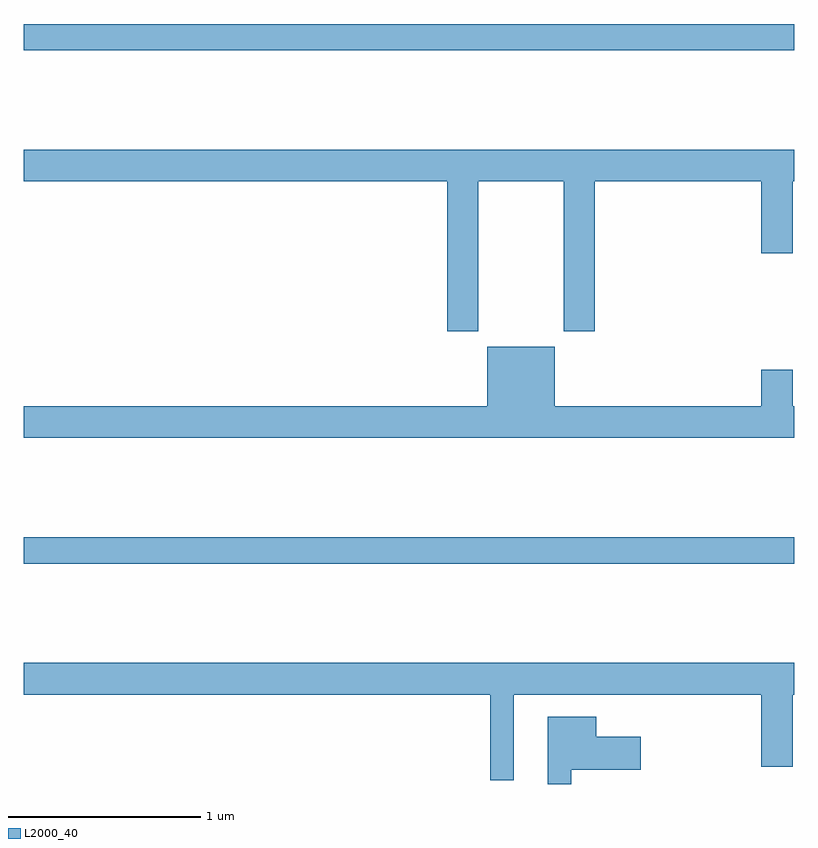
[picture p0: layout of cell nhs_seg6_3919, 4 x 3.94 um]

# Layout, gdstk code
import gdstk
lib = gdstk.Library(unit=1e-6, precision=1e-09)
def R(c, l, rs):  # rectangles x0, y0, x1, y1
    for r in rs: c.add(gdstk.rectangle(r[:2], r[2:], *l))
def P(c, l, *ps):  # polygons
    for p in ps: c.add(gdstk.Polygon(p, *l))
L2000_40 = (2000, 40)

nhs_seg6_3919 = lib.new_cell('nhs_seg6_3919')
R(nhs_seg6_3919, L2000_40, [(341,986.644,345,986.78), (341,989.308,345,989.444)])
P(nhs_seg6_3919, L2000_40, [(343.359,988.628),(343.804,988.628),(343.804,987.849),(343.964,987.849),(343.964,988.628),(344.828,988.628),(344.828,988.254),(344.992,988.254),(344.992,988.628),(345,988.628),(345,988.792),(341,988.792),(341,988.628),(343.199,988.628),(343.199,987.849),(343.359,987.849)],
  [(345,987.46),(344.992,987.46),(344.992,987.649),(344.828,987.649),(344.828,987.46),(343.756,987.46),(343.756,987.769),(343.406,987.769),(343.406,987.46),(341,987.46),(341,987.296),(345,987.296)],
  [(343.543,985.964),(344.828,985.964),(344.828,985.59),(344.992,985.59),(344.992,985.964),(345,985.964),(345,986.128),(341,986.128),(341,985.964),(343.422,985.964),(343.422,985.52),(343.543,985.52)],
  [(343.843,985.574),(344.203,985.574),(344.203,985.744),(343.972,985.744),(343.972,985.849),(343.721,985.849),(343.721,985.5),(343.843,985.5)])

lib.write_gds('nhs_seg6_3919.gds')
